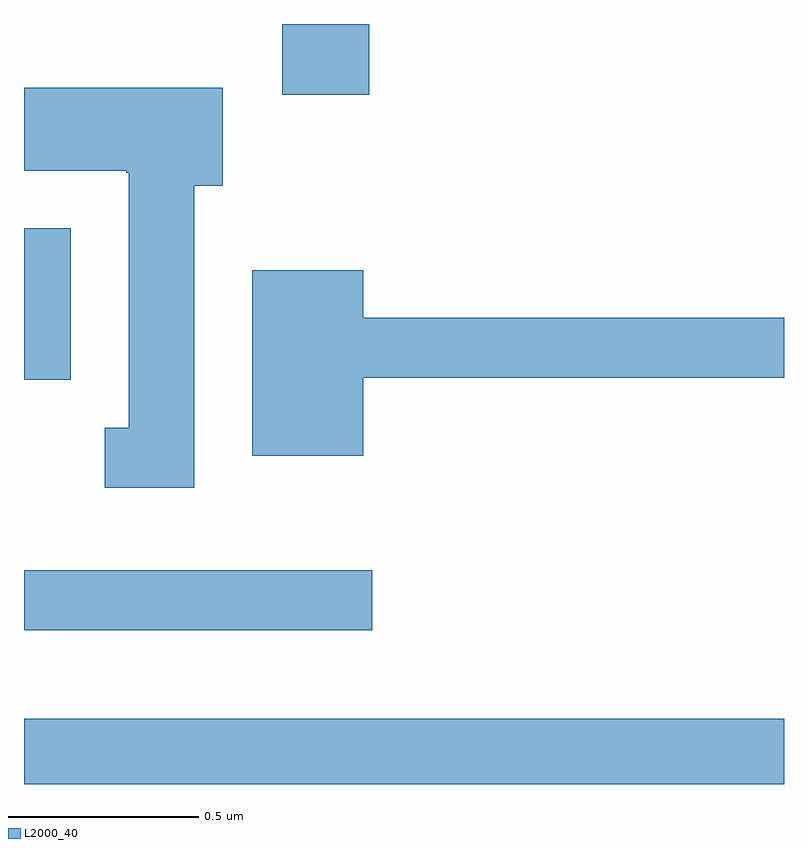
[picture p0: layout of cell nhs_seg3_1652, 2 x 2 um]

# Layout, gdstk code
import gdstk
lib = gdstk.Library(unit=1e-6, precision=1e-09)
def R(c, l, rs):  # rectangles x0, y0, x1, y1
    for r in rs: c.add(gdstk.rectangle(r[:2], r[2:], *l))
def P(c, l, *ps):  # polygons
    for p in ps: c.add(gdstk.Polygon(p, *l))
L2000_40 = (2000, 40)

nhs_seg3_1652 = lib.new_cell('nhs_seg3_1652')
R(nhs_seg3_1652, L2000_40, [(197.611,1123.892,199.611,1124.064), (197.611,1124.296,198.528,1124.454), (197.611,1124.956,197.734,1125.354), (198.291,1125.706,198.519,1125.892)])
P(nhs_seg3_1652, L2000_40, [(198.059,1125.466),(198.134,1125.466),(198.134,1125.724),(197.611,1125.724),(197.611,1125.506),(197.88,1125.506),(197.88,1125.5),(197.886,1125.5),(197.886,1124.829),(197.823,1124.829),(197.823,1124.671),(198.059,1124.671)],
  [(198.504,1124.961),(199.611,1124.961),(199.611,1125.119),(198.504,1125.119),(198.504,1125.244),(198.211,1125.244),(198.211,1124.756),(198.504,1124.756)])

lib.write_gds('nhs_seg3_1652.gds')
